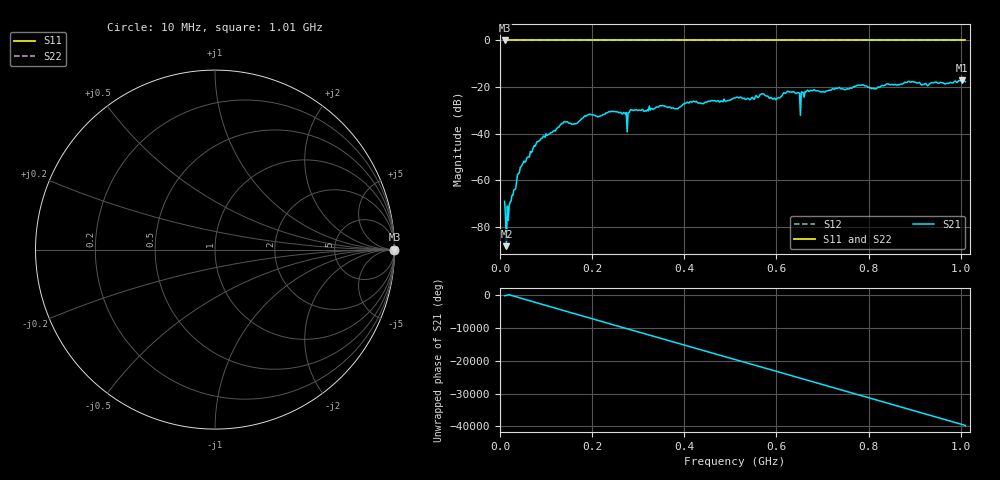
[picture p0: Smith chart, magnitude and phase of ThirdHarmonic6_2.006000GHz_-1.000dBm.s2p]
! 8/17/2025 12:05:52 AM
! C:\ANRITSUVNA\TEMP\TEMP.S2P
! CHANNEL.1
! TR.MEASUREMENT
! RAW.DATA
! RF.CORRECTION.OFF
! AVERAGING.OFF
! IF.BANDWIDTH: 5KHZ
! SWEEPTYPE:  FREQ.SWEEP(Linear)
! Reference Plane Port Info
! PORT:  PORT1  PORT2
! DISTANCE:  0  m  0  m
! TIME:  0  s  0  s
! PHASE.OFFSET:  0  deg.  0  deg.
! LOSS:  0  dB  0  dB
! REF.LOSS:  0  dB  0  dB
! REF.FREQ:  0  Hz  0  Hz
! Power Info
! POWER:  -20  dBm  -20  dBm
! EFF.POWER:  -20  dBm  -20  dBm
! SOURCE.ATTEN:  0  dB  0  dB
! TEST.ATTEN:  0  dB  0  dB
# GHZ S RI R 50.0
! FREQ.GHZ  S11RE  S11IM  S21RE  S21IM  S12RE  S12IM  S22RE  S22IM
!; PortSelection: Port_12
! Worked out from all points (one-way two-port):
!   501 points, 10 MHz to 1.01 GHz, reference 50 ohm
!   highest |S21| = -17.03 dB at 1.002 GHz (marker M1); lowest = -88.2 dB at 14 MHz (marker M2)
!   lowest |S11| = 0.0 dB at 10 MHz (marker M3)
!   |S11| at or under -10 dB: nowhere
!   |S22| runs from 0.0 to 0.0 dB; largest |S21 - S12| = 1.1
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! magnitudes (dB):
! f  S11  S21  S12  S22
! 10 MHz  0.0  -69.0  0.0  0.0
! 14 MHz  0.0  -88.2  0.0  0.0
! 18 MHz  0.0  -77.2  0.0  0.0
! 42 MHz  0.0  -56.8  0.0  0.0
! 78 MHz  0.0  -44.5  0.0  0.0
! 136 MHz  0.0  -35.7  0.0  0.0
! 178 MHz  0.0  -33.5  0.0  0.0
! 242 MHz  0.0  -30.4  0.0  0.0
! 276 MHz  0.0  -39.2  0.0  0.0
! 286 MHz  0.0  -29.8  0.0  0.0
! 344 MHz  0.0  -28.6  0.0  0.0
! 382 MHz  0.0  -29.3  0.0  0.0
! 416 MHz  0.0  -26.5  0.0  0.0
! 510 MHz  0.0  -24.7  0.0  0.0
! 570 MHz  0.0  -22.8  0.0  0.0
! 596 MHz  0.0  -24.7  0.0  0.0
! 628 MHz  0.0  -22.1  0.0  0.0
! 656 MHz  0.0  -22.1  0.0  0.0
! 678 MHz  0.0  -21.6  0.0  0.0
! 844 MHz  0.0  -18.8  0.0  0.0
! 1.002 GHz  0.0  -17.0  0.0  0.0
! 1.01 GHz  0.0  -17.8  0.0  0.0
